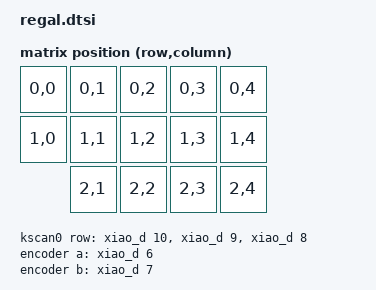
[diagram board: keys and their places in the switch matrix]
/*
 * Copyright (c) 2022 The ZMK Contributors
 *
 * SPDX-License-Identifier: MIT
 */

#include <dt-bindings/zmk/matrix_transform.h>

/ {
    chosen {
        zmk,kscan = &kscan0;
        zmk,matrix_transform = &default_transform;
    };

    default_transform: keymap_transform_0 {
        compatible = "zmk,matrix-transform";
        columns = <5>;
        rows = <3>;
//      | SW01  | SW02  | SW03  | SW04  | TK01  |
//      | SW05  | SW06  | SW07  | SW08  | TK02  |
//              | SW09  | SW10  | SW11  | TK03  | 

        map = <
        RC(0,0) RC(0,1) RC(0,2) RC(0,3) RC(0,4)
        RC(1,0) RC(1,1) RC(1,2) RC(1,3) RC(1,4)
                RC(2,1) RC(2,2) RC(2,3) RC(2,4)
        >;
    };


    kscan0: kscan {
        compatible = "zmk,kscan-gpio-matrix";
        label = "KSCAN";
        
        diode-direction = "col2row"; 
        row-gpios
            = <&xiao_d 10 (GPIO_ACTIVE_HIGH | GPIO_PULL_DOWN)>
            , <&xiao_d 9 (GPIO_ACTIVE_HIGH | GPIO_PULL_DOWN)>
            , <&xiao_d 8 (GPIO_ACTIVE_HIGH | GPIO_PULL_DOWN)>
            ;
    };

   encoder: encoder {
        compatible = "alps,ec11";
        label = "ENCODER";
        resolution = <4>;
        a-gpios = <&xiao_d 6 (GPIO_ACTIVE_HIGH | GPIO_PULL_UP)>;
        b-gpios = <&xiao_d 7 (GPIO_ACTIVE_HIGH | GPIO_PULL_UP)>;
    };
    sensors {
        compatible = "zmk,keymap-sensors";
        sensors = <&encoder>;
    };
};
